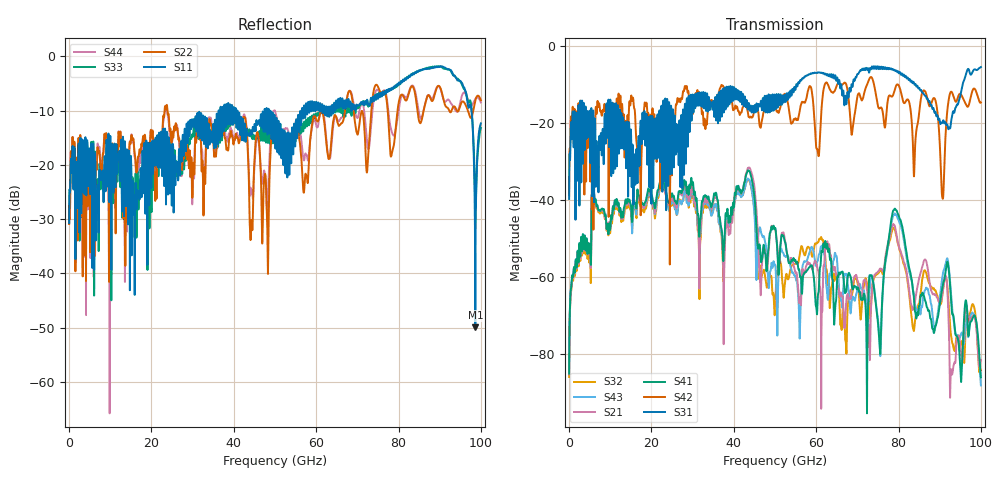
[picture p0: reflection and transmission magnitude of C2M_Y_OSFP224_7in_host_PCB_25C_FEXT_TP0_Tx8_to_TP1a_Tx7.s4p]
# GHz S RI R 45
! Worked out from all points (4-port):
!   4000 points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, 25 MHz to 100 GHz, reference 45 ohm
!   strongest paths, dB at 25 MHz, 25.02 GHz, 50.02 GHz, 75.03 GHz, 100 GHz:
!     S31: -39.7, -30.3, -13.7, -5.3, -5.4
!     S42: -38.8, -30.3, -16.0, -15.6, -14.6
!     S41: -85.1, -38.2, -47.3, -72.0, -86.1
!     S21: -85.3, -38.7, -47.5, -58.5, -81.6
!     S43: -85.0, -40.0, -56.8, -71.0, -88.2
!     S32: -86.0, -40.1, -68.6, -59.0, -84.2
!   lowest |S11| = -50.0 dB at 98.65 GHz (marker M1), VSWR 1.01, Z = 45.3 + j0.136 ohm
!   |S11| at or under -10 dB: start of sweep to 36.32 GHz; 40.9 GHz to 47.46 GHz (6.558 GHz wide, 14.8 % of centre); 48.51 GHz to 56.52 GHz (8.011 GHz wide, 15.3 % of centre) (the widest 3 of 33)
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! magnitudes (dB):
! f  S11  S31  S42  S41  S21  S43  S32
! 25 MHz  -30.7  -39.7  -38.8  -85.1  -85.3  -85.0  -86.0
! 6 GHz  -20.2  -21.7  -24.7  -36.9  -37.1  -36.9  -37.5
! 43.67 GHz  -14.6  -14.8  -18.4  -32.4  -31.5  -34.6  -34.8
! 49.75 GHz  -12.8  -15.3  -15.2  -46.9  -47.0  -56.2  -66.4
! 90.67 GHz  -1.8  -19.8  -39.5  -62.5  -64.3  -59.8  -64.4
! 98.65 GHz  -50.0  -6.0  -11.3  -70.4  -71.3  -70.7  -69.5
! 100 GHz  -12.3  -5.4  -14.6  -86.1  -81.6  -88.2  -84.2
